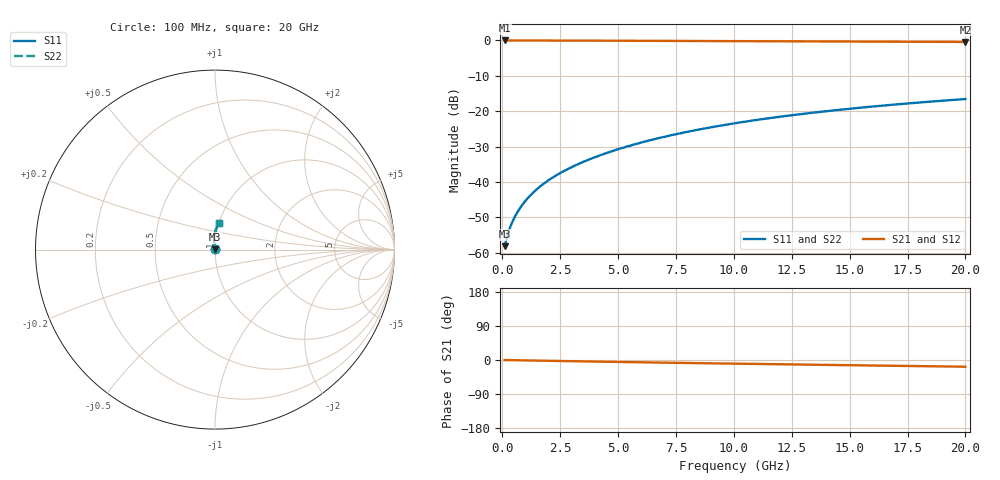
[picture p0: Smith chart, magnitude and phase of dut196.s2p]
! Touchstone file exported from HFSS 2024.1.0
!  File:  C:/UserFiles/LocalFiles/RDL_TSV_Batchsim/temp_RDL_top_196_1778686845.aedt
!  Generated:  11:42:39 PM May 13, 2026
!  Design:  RDL_top
!  Project:  temp_RDL_top_196_1778686845
!  Setup:  Setup1
!  Solution:  Sweep
! Variables:
!  dtsv = 10.80580581um
!  hbump = 3um
!  htsv = 93.33um
!  ldown = 100um
!  lrdl = 257.29um
!  p = 40
!  p1 = 47.09um
!  rhole = 1um
!  t = 450um
!  tdown = 3.915915916um
!  trdl = 3.88um
!  wdown = 15.38538539um
!  wrdl = 28.68um
# GHz S MA R 50.000000
! Terminal data exported
! Port[1] = Box2_T1
! Port[2] = Box2_T2
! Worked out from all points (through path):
!   200 points, 100 MHz to 20 GHz, reference 50 ohm
!   highest |S21| = -0.01 dB at 100 MHz (marker M1); lowest = -0.4 dB at 20 GHz (marker M2)
!   group delay of S21, straight-line fit = 2.42 ps
!   lowest |S11| = -58.2 dB at 100 MHz (marker M3), VSWR 1.00, Z = 50.1 + j0.0636 ohm
!   |S11| at or under -10 dB: start of sweep to end of sweep
!   |S22| runs from -58.2 to -16.6 dB; largest |S21 - S12| = 2.1e-15
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0.1  0.001234 31.0  0.9989 -0.1  0.9989 -0.1  0.001234 31.0
! Gamma 0 0 0 0
! Port Impedance 50 0 50 0
0.2  0.001662 46.9  0.9988 -0.2  0.9988 -0.2  0.001662 46.9
0.3  0.002116 55.3  0.9987 -0.3  0.9987 -0.3  0.002116 55.3
0.4  0.002567 61.0  0.9986 -0.4  0.9986 -0.4  0.002566 61.0
0.5  0.003019 65.3  0.9986 -0.5  0.9986 -0.5  0.003019 65.3
0.6  0.003479 68.7  0.9985 -0.7  0.9985 -0.7  0.003478 68.7
0.8  0.004421 73.8  0.9983 -0.9  0.9983 -0.9  0.00442 73.8
1  0.005392 77.4  0.9982 -1.1  0.9982 -1.1  0.005391 77.4
1.2  0.006387 80.2  0.998 -1.3  0.998 -1.3  0.006386 80.2
1.7  0.008961 84.9  0.9973 -1.8  0.9973 -1.8  0.008961 84.9
2.2  0.01165 87.9  0.9965 -2.4  0.9965 -2.4  0.01165 87.9
2.8  0.01503 90.5  0.9954 -3.0  0.9954 -3.0  0.01503 90.5
3.5  0.0192 92.5  0.9938 -3.7  0.9938 -3.7  0.0192 92.5
4.2  0.02361 93.9  0.9919 -4.4  0.9919 -4.4  0.02361 93.9
5  0.02893 94.9  0.9897 -5.2  0.9897 -5.2  0.02893 94.9
6.8  0.04189 95.4  0.9843 -6.8  0.9843 -6.8  0.04189 95.4
8.4  0.05426 94.7  0.9796 -8.3  0.9796 -8.3  0.05426 94.7
10.1  0.06791 93.3  0.9748 -9.7  0.9748 -9.7  0.06791 93.4
11.7  0.08101 91.7  0.9706 -11.0  0.9706 -11.0  0.08101 91.7
13.4  0.09501 89.8  0.9664 -12.4  0.9664 -12.4  0.09501 89.8
16.7  0.122 86.0  0.9588 -15.1  0.9588 -15.1  0.122 86.0
20  0.1484 82.3  0.9517 -17.7  0.9517 -17.7  0.1484 82.3
